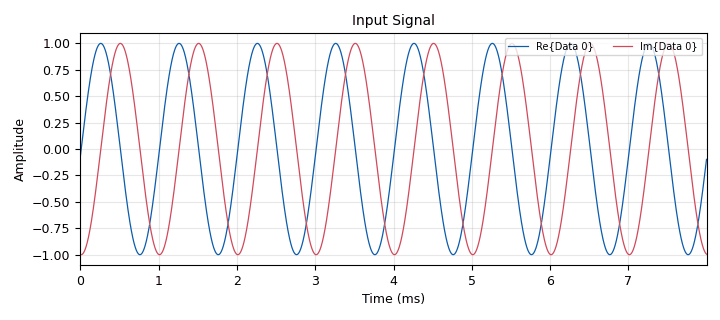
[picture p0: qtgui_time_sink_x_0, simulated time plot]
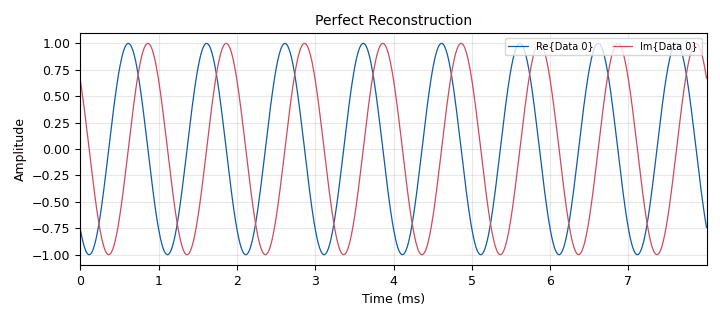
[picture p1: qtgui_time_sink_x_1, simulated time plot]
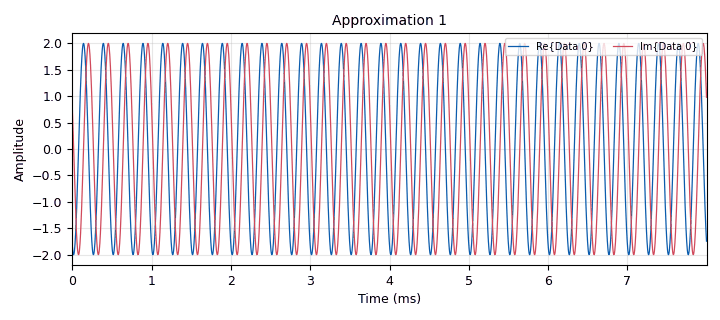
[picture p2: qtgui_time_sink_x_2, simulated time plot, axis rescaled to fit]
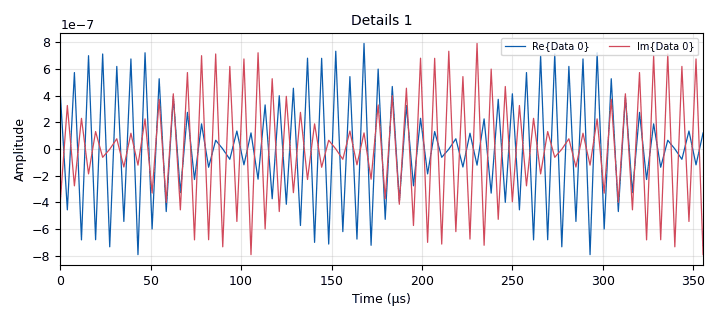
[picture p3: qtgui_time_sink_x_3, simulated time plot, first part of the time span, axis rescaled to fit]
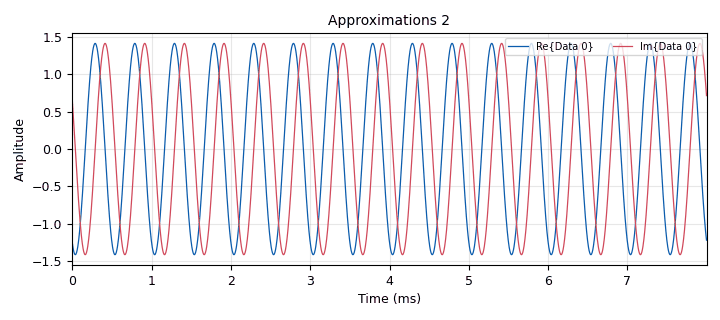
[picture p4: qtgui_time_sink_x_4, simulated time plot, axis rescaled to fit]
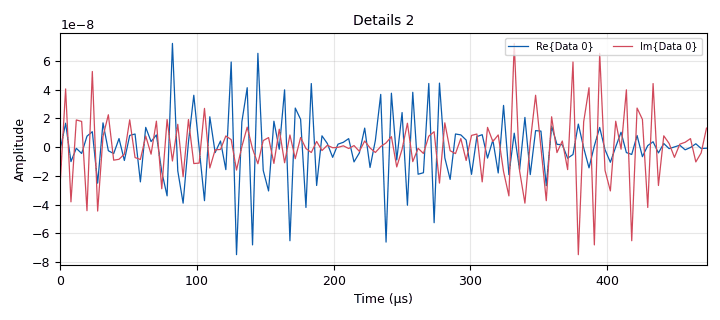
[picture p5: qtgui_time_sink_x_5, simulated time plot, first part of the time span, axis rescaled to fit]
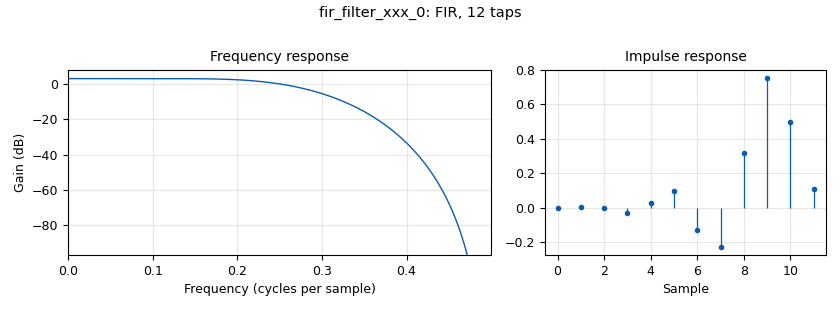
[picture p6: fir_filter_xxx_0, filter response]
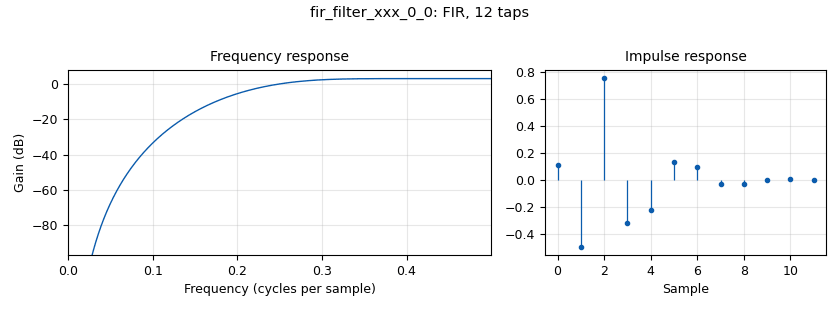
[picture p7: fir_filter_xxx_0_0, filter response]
options:
  parameters:
    author: perazaharmonics
    generate_options: qt_gui
    id: WaveletDecDb6Flowgraph
    output_language: python
    title: db6waveletdec
  states: {}

blocks:
- name: frequency
  id: variable_qtgui_range
  parameters:
    start: '-samp_rate/2'
    step: '1'
    stop: samp_rate/2
    value: samp_rate / 64
  states: {}
- name: g
  id: variable
  parameters:
    value: '[h[11], -h[10], h[9], -h[8], h[7], -h[6], h[5], -h[4], h[3], -h[2], h[1], -h[0]]'
  states: {}
- name: g_inv
  id: variable
  parameters:
    value: '[-0.0010773011, -0.0047772575, 0.0005538422, 0.0315820393, 0.0275228655, -0.0975016056, -0.1297668676, 0.2262646940, 0.3152503517, -0.7511339080, 0.4946238904, -0.1115407434 ]'
  states: {}
- name: h
  id: variable
  parameters:
    value: '[-0.001077301085308, 0.0047772575109455,  0.0005538422011614, -0.031582039318486, 0.027522865530305, 0.097501605587322, -0.129766867567262, -0.226264693965440,  0.315250351709198, 0.751133908021095, 0.494623890398453, 0.111540743350109]'
  states: {}
- name: h_inv
  id: variable
  parameters:
    value: h[::-1]
  states: {}
- name: samp_rate
  id: variable
  parameters:
    value: '256000'
  states: {}
- name: analog_sig_source_x_0
  id: analog_sig_source_x
  parameters:
    amp: '1'
    freq: frequency
    offset: '0'
    phase: '0'
    samp_rate: 4*samp_rate
    type: complex
    waveform: analog.GR_SIN_WAVE
  states: {}
- name: blocks_add_xx_0
  id: blocks_add_xx
  parameters:
    type: complex
  states: {}
- name: blocks_add_xx_0_0
  id: blocks_add_xx
  parameters:
    type: complex
  states: {}
- name: blocks_add_xx_0_0_0
  id: blocks_add_xx
  parameters:
    type: complex
  states: {}
- name: blocks_throttle_0_0_0
  id: blocks_throttle
  parameters:
    samples_per_second: samp_rate
    type: complex
  states: {}
- name: fir_filter_xxx_0
  id: fir_filter_xxx
  parameters:
    decim: '2'
    taps: h
    type: ccc
  states: {}
- name: fir_filter_xxx_0_0
  id: fir_filter_xxx
  parameters:
    decim: '2'
    taps: g
    type: ccc
  states: {}
- name: fir_filter_xxx_0_0_0
  id: fir_filter_xxx
  parameters:
    decim: '2'
    taps: g
    type: ccc
  states: {}
- name: fir_filter_xxx_0_1
  id: fir_filter_xxx
  parameters:
    decim: '2'
    taps: h
    type: ccc
  states: {}
- name: fir_filter_xxx_0_1_0
  id: fir_filter_xxx
  parameters:
    decim: '2'
    taps: h
    type: ccc
  states: {}
- name: fir_filter_xxx_0_1_0_0
  id: fir_filter_xxx
  parameters:
    decim: '2'
    taps: g
    type: ccc
  states: {}
- name: import_0
  id: import
  parameters:
    imports: import numpy as np
  states: {}
- name: interp_fir_filter_xxx_0
  id: interp_fir_filter_xxx
  parameters:
    interp: '2'
    taps: h_inv
    type: ccc
  states: {}
- name: interp_fir_filter_xxx_0_0
  id: interp_fir_filter_xxx
  parameters:
    interp: '2'
    taps: g_inv
    type: ccc
  states: {}
- name: interp_fir_filter_xxx_0_0_0
  id: interp_fir_filter_xxx
  parameters:
    interp: '2'
    taps: g_inv
    type: ccc
  states: {}
- name: interp_fir_filter_xxx_0_0_1
  id: interp_fir_filter_xxx
  parameters:
    interp: '2'
    taps: g_inv
    type: ccc
  states: {}
- name: interp_fir_filter_xxx_0_1
  id: interp_fir_filter_xxx
  parameters:
    interp: '2'
    taps: h_inv
    type: ccc
  states: {}
- name: interp_fir_filter_xxx_0_2
  id: interp_fir_filter_xxx
  parameters:
    interp: '2'
    taps: h_inv
    type: ccc
  states: {}
- name: qtgui_time_sink_x_0
  id: qtgui_time_sink_x
  parameters:
    autoscale: 'True'
    name: '"Input Signal"'
    size: '2048'
    srate: samp_rate
    type: complex
  states: {}
- name: qtgui_time_sink_x_1
  id: qtgui_time_sink_x
  parameters:
    autoscale: 'True'
    name: '"Perfect Reconstruction"'
    size: '2048'
    srate: samp_rate
    type: complex
  states: {}
- name: qtgui_time_sink_x_2
  id: qtgui_time_sink_x
  parameters:
    name: '"Approximation 1"'
    size: '2048'
    srate: samp_rate
    type: complex
  states: {}
- name: qtgui_time_sink_x_3
  id: qtgui_time_sink_x
  parameters:
    name: '"Details 1"'
    size: '2048'
    srate: samp_rate
    type: complex
  states: {}
- name: qtgui_time_sink_x_4
  id: qtgui_time_sink_x
  parameters:
    name: '"Approximations 2"'
    size: '2048'
    srate: samp_rate
    type: complex
  states: {}
- name: qtgui_time_sink_x_5
  id: qtgui_time_sink_x
  parameters:
    name: '"Details 2"'
    size: '2048'
    srate: samp_rate
    type: complex
  states: {}
- name: qtgui_time_sink_x_6
  id: qtgui_time_sink_x
  parameters:
    autoscale: 'True'
    name: '"Approximations 3"'
    size: '2048'
    srate: samp_rate
    type: complex
  states: {}
- name: qtgui_time_sink_x_7
  id: qtgui_time_sink_x
  parameters:
    autoscale: 'True'
    name: '"Details 3"'
    size: '2048'
    srate: samp_rate
    type: complex
  states: {}
- name: virtual_sink_0
  id: virtual_sink
  parameters:
    stream_id: signal
  states: {}
- name: virtual_source_0
  id: virtual_source
  parameters:
    stream_id: signal
  states: {}

connections:
- [analog_sig_source_x_0, '0', virtual_sink_0, '0']
- [blocks_add_xx_0, '0', interp_fir_filter_xxx_0_2, '0']
- [blocks_add_xx_0_0, '0', interp_fir_filter_xxx_0_1, '0']
- [blocks_add_xx_0_0_0, '0', qtgui_time_sink_x_1, '0']
- [blocks_throttle_0_0_0, '0', fir_filter_xxx_0, '0']
- [blocks_throttle_0_0_0, '0', fir_filter_xxx_0_0, '0']
- [blocks_throttle_0_0_0, '0', fir_filter_xxx_0_0_0, '0']
- [fir_filter_xxx_0, '0', fir_filter_xxx_0_1, '0']
- [fir_filter_xxx_0_0, '0', interp_fir_filter_xxx_0_0_0, '0']
- [fir_filter_xxx_0_0_0, '0', interp_fir_filter_xxx_0_0_1, '0']
- [fir_filter_xxx_0_1, '0', fir_filter_xxx_0_1_0, '0']
- [fir_filter_xxx_0_1, '0', fir_filter_xxx_0_1_0_0, '0']
- [fir_filter_xxx_0_1_0, '0', interp_fir_filter_xxx_0, '0']
- [fir_filter_xxx_0_1_0_0, '0', interp_fir_filter_xxx_0_0, '0']
- [interp_fir_filter_xxx_0, '0', blocks_add_xx_0, '0']
- [interp_fir_filter_xxx_0, '0', qtgui_time_sink_x_2, '0']
- [interp_fir_filter_xxx_0_0, '0', blocks_add_xx_0, '1']
- [interp_fir_filter_xxx_0_0, '0', qtgui_time_sink_x_3, '0']
- [interp_fir_filter_xxx_0_0_0, '0', blocks_add_xx_0_0, '1']
- [interp_fir_filter_xxx_0_0_0, '0', qtgui_time_sink_x_5, '0']
- [interp_fir_filter_xxx_0_0_1, '0', blocks_add_xx_0_0_0, '1']
- [interp_fir_filter_xxx_0_0_1, '0', qtgui_time_sink_x_7, '0']
- [interp_fir_filter_xxx_0_1, '0', blocks_add_xx_0_0_0, '0']
- [interp_fir_filter_xxx_0_1, '0', qtgui_time_sink_x_6, '0']
- [interp_fir_filter_xxx_0_2, '0', blocks_add_xx_0_0, '0']
- [interp_fir_filter_xxx_0_2, '0', qtgui_time_sink_x_4, '0']
- [virtual_source_0, '0', blocks_throttle_0_0_0, '0']
- [virtual_source_0, '0', qtgui_time_sink_x_0, '0']

metadata:
  file_format: 1
